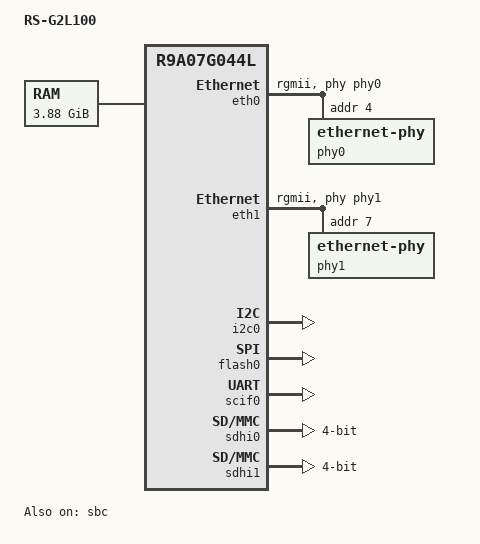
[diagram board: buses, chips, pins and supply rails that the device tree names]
// SPDX-License-Identifier: GPL-2.0
/*
 * Device Tree Source for the RS-G2L100 board
 *
 * Copyright (C) 2017 Jacopo Mondi <jacopo+renesas@jmondi.org>
 * Copyright (C) 2025 Renesas Electronics
 */

/dts-v1/;
#include <dt-bindings/gpio/gpio.h>
#include "r9a07g044.dtsi"
#include "r9a07g044l-u-boot.dtsi"
#include <dt-bindings/pinctrl/rzg2l-pinctrl.h>
#include <configs/rzg2l-sbc.h>

/ {
	model = "RS-G2L100";
	compatible = "renesas,r9a07g044l", "renesas,rzg2l";

	aliases	{
		spi0 = &sbc;
		serial0 = &scif0;
	};

	chosen {
		stdout-path = "serial0:115200n8";
	};

	memory@48000000 {
		device_type = "memory";
		/* Reserve 128MB for secure area */
		reg = <0x0 0x48000000 0x0 0xF8000000>;  /* 4GB - 128MB */
	};
};

&pinctrl {
	eth0_pins: eth0 {
		pinmux = <RZG2L_PINMUX(20, 0, 1)>,//ET0_TXC/TX_CLK
				<RZG2L_PINMUX(20, 1, 1)>, //ET0_TX_CTL/TX_EN
				<RZG2L_PINMUX(20, 2, 1)>, //ET0_TXD0
				<RZG2L_PINMUX(21, 0, 1)>, //ET0_TXD1
				<RZG2L_PINMUX(21, 1, 1)>, //ET0_TXD2
				<RZG2L_PINMUX(22, 0, 1)>, //ET0_TXD3
				<RZG2L_PINMUX(22, 1, 1)>, //ET0_TX_ERR
				<RZG2L_PINMUX(23, 0, 1)>, //ET0_TX_COL
				<RZG2L_PINMUX(23, 1, 1)>, //ET0_TX_CRS
				<RZG2L_PINMUX(24, 0, 1)>, //ET0_RXC/RX_CLK
				<RZG2L_PINMUX(24, 1, 1)>, //ET0_RX_CTL/RX_DV
				<RZG2L_PINMUX(25, 0, 1)>, //ET0_RXD0
				<RZG2L_PINMUX(25, 1, 1)>, //ET0_RXD1
				<RZG2L_PINMUX(26, 0, 1)>, //ET0_RXD2
				<RZG2L_PINMUX(26, 1, 1)>, //ET0_RXD3
				<RZG2L_PINMUX(27, 0, 1)>, //ET0_RX_ERR
				<RZG2L_PINMUX(27, 1, 1)>, //ET0_MDC
				<RZG2L_PINMUX(28, 0, 1)>, //ET0_MDIO
				<RZG2L_PINMUX(28, 1, 1)>; //ET0_LINKSTA
	};

	eth1_pins: eth1 {
		pinmux = <RZG2L_PINMUX(29, 0, 1)>, //ET1_TXC/TX_CLK
				<RZG2L_PINMUX(29, 1, 1)>, //ET1_TX_CTL/TX_EN
				<RZG2L_PINMUX(30, 0, 1)>, //ET1_TXD0
				<RZG2L_PINMUX(30, 1, 1)>, //ET1_TXD1
				<RZG2L_PINMUX(31, 0, 1)>, //ET1_TXD2
				<RZG2L_PINMUX(31, 1, 1)>, //ET1_TXD3
				<RZG2L_PINMUX(32, 0, 1)>, //ET1_TX_ERR
				<RZG2L_PINMUX(32, 1, 1)>, //ET1_TX_COL
				<RZG2L_PINMUX(33, 0, 1)>, //ET1_TX_CRS
				<RZG2L_PINMUX(33, 1, 1)>, //ET1_RXC/RX_CLK
				<RZG2L_PINMUX(34, 0, 1)>, //ET1_RX_CTL/RX_DV
				<RZG2L_PINMUX(34, 1, 1)>, //ET1_RXD0
				<RZG2L_PINMUX(35, 0, 1)>, //ET1_RXD1
				<RZG2L_PINMUX(35, 1, 1)>, //ET1_RXD2
				<RZG2L_PINMUX(36, 0, 1)>, //ET1_RXD3
				<RZG2L_PINMUX(36, 1, 1)>, //ET1_RX_ERR
				<RZG2L_PINMUX(37, 0, 1)>, //ET1_MDC
				<RZG2L_PINMUX(37, 1, 1)>, //ET1_MDIO
				<RZG2L_PINMUX(37, 2, 1)>; //ET1_LINKSTA
	};
};

&extal_clk {
	clock-frequency = <24000000>;
};

&eth0 {
	pinctrl-names = "default";
	pinctrl-0 = <&eth0_pins>;
	alt-mdio-base = <0x11c20000>;
	status = "okay";

	phy-handle = <&phy0>;
	phy-mode = "rgmii";
	phy-index = <0>;
	phy0: ethernet-phy@4 {
		reg = <4>;
	};
};

&eth1 {
	pinctrl-names = "default";
	pinctrl-0 = <&eth1_pins>;
	alt-mdio-base = <0x11c30000>;
	status = "okay";

	phy-handle = <&phy1>;
	phy-mode = "rgmii";
	phy-index = <1>;
	phy1: ethernet-phy@7 {
		reg = <7>;
	};
};

&i2c0 {
	status = "okay";
};

&sbc {
	status = "okay";
	compatible = "renesas,rpc-r8a77995";
	num-cs = <2>;
	#address-cells = <1>;
	#size-cells = <0>;
	spi-max-frequency = <50000000>;
	bank-width = <2>;

	flash0: spi-flash@0 {
		#address-cells = <1>;
		#size-cells = <1>;
		compatible = "jedec,spi-nor";
		spi-max-frequency = <50000000>;
		spi-tx-bus-width = <1>;
		spi-rx-bus-width = <1>;
		reg = <0>;
		status = "okay";
	};
};

&scif0 {
	status = "okay";
	clock = <100000000>;
};

&sdhi0 {
	/* pinctrl placeholder
	 * If this channel is used for interfacing with a SD card, a power enable
	 * pin (SD0_PWR_EN) must be defined.
	 * The SD0_PWR_EN pin is associated with P4_1.
	 * A HIGH signal on SD0_PWR_EN will enable supply voltage for SD card.
	*/
	bus-width = <4>;
	status = "okay";
};

&sdhi1 {
	/* pinctrl placeholder
	 * A power enable pin (SD1_PWR_EN) must be defined to interface with a
	 * SD card.
	 * The SD1_PWR_EN pin is associated with P39_2.
	 * A HIGH signal on SD1_PWR_EN will enable supply voltage for SD card.
	*/
	bus-width = <4>;
	status = "okay";
};
